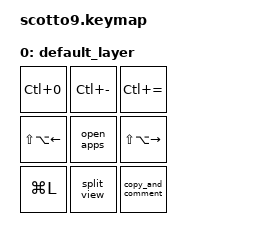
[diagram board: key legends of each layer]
#include <behaviors.dtsi>
#include <dt-bindings/zmk/keys.h>

/ {
    keymap {
        compatible = "zmk,keymap";

        default_layer { // Layer 0
            bindings = <
                &kp LC(N0)          &kp LC(MINUS)   &kp LC(EQUAL)
                &kp LS(LA(LEFT))    &open_apps      &kp LS(LA(RIGHT))
                &kp LG(L)           &split_view     &copy_and_comment
            >;
        };
    };

    combos {
        compatible = "zmk,combos";
        combo_bootloader {
            timeout-ms = <50>;
            key-positions = <0 4 2>;
            bindings = <&bootloader>;
        };
        combo_screenshot {
            timeout-ms = <50>;
            key-positions = <0 1 2>;
            bindings = <&kp LS(PSCRN)>;
        };
        combo_window_screenshot {
            timeout-ms = <50>;
            key-positions = <0 1>;
            bindings = <&kp LA(PSCRN)>;
        };
    };

    macros {
        copy_and_comment: copy_and_comment {
            compatible = "zmk,behavior-macro";
            #binding-cells = <0>;
            bindings
                = <&kp LC(C)>
                , <&kp LC(V)>
                , <&kp UP>
                , <&kp LC(SLASH)>
                , <&kp DOWN>
                , <&kp END>
                ;
        };

        open_apps: open_apps {
            compatible = "zmk,behavior-macro";
            #binding-cells = <0>;
            bindings
                = <&kp LG(N1)>
                , <&kp LG(N4)>
                , <&kp LG(N5)>
                ;
        };


        split_view: split_view {
            compatible = "zmk,behavior-macro";
            #binding-cells = <0>;
            bindings
                = <&kp LG(LEFT)>
                , <&macro_wait_time 100>
                , <&kp LA(TAB)>
                , <&macro_wait_time 100>
                , <&kp LG(RIGHT)>
                ;
        };
    };
};
